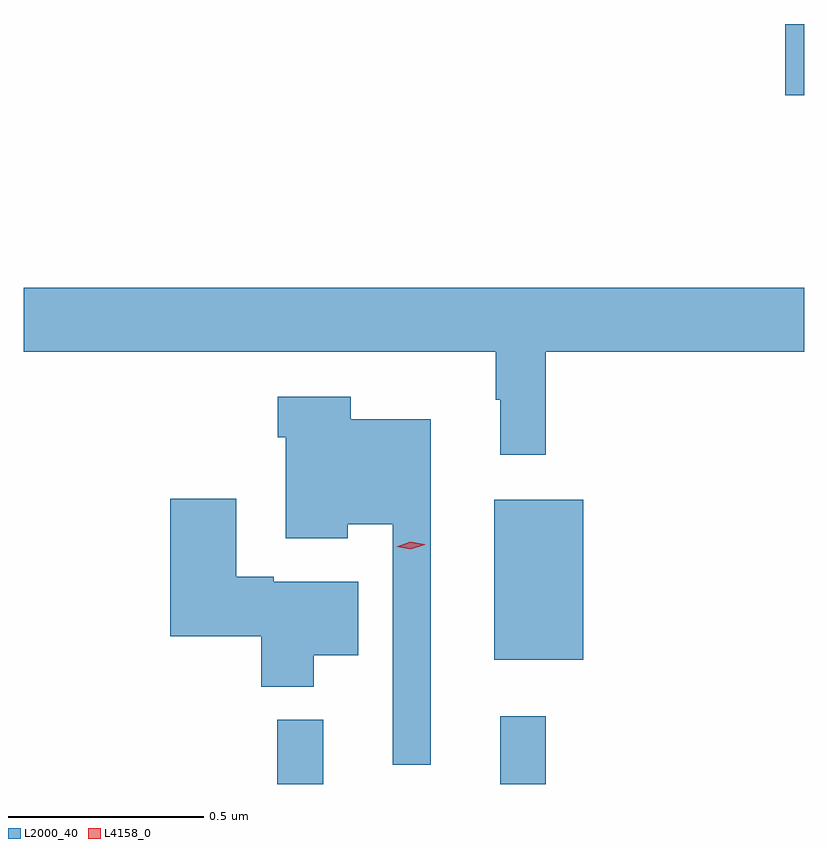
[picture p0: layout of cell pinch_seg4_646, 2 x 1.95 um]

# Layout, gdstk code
import gdstk
lib = gdstk.Library(unit=1e-6, precision=1e-09)
def R(c, l, rs):  # rectangles x0, y0, x1, y1
    for r in rs: c.add(gdstk.rectangle(r[:2], r[2:], *l))
def P(c, l, *ps):  # polygons
    for p in ps: c.add(gdstk.Polygon(p, *l))
L2000_40 = (2000, 40)
L4158_0 = (4158, 0)

pinch_seg4_646 = lib.new_cell('pinch_seg4_646')
R(pinch_seg4_646, L2000_40, [(1048.057,766.409,1048.175,766.573), (1048.628,766.409,1048.745,766.582), (1048.613,766.727,1048.84,767.137), (1049.358,768.173,1049.407,768.356)])
P(pinch_seg4_646, L2000_40, [(1048.745,767.516),(1049.407,767.516),(1049.407,767.68),(1047.407,767.68),(1047.407,767.516),(1048.617,767.516),(1048.617,767.393),(1048.628,767.393),(1048.628,767.253),(1048.745,767.253)],
  [(1048.45,767.344),(1048.245,767.344),(1048.245,767.401),(1048.058,767.401),(1048.058,767.297),(1048.079,767.297),(1048.079,767.039),(1048.237,767.039),(1048.237,767.075),(1048.353,767.075),(1048.353,766.458),(1048.45,766.458)],
  [(1048.15,766.739),(1048.264,766.739),(1048.264,766.927),(1048.048,766.927),(1048.048,766.94),(1047.952,766.94),(1047.952,767.14),(1047.782,767.14),(1047.782,766.787),(1048.016,766.787),(1048.016,766.658),(1048.15,766.658)])
P(pinch_seg4_646, L4158_0, [(1048.399,767.01),(1048.363,767.017),(1048.363,767.017),(1048.363,767.017),(1048.398,767.03),(1048.434,767.023),(1048.434,767.022),(1048.434,767.022)])

lib.write_gds('pinch_seg4_646.gds')
